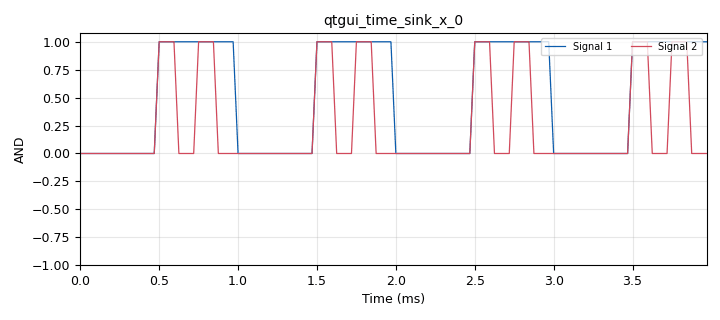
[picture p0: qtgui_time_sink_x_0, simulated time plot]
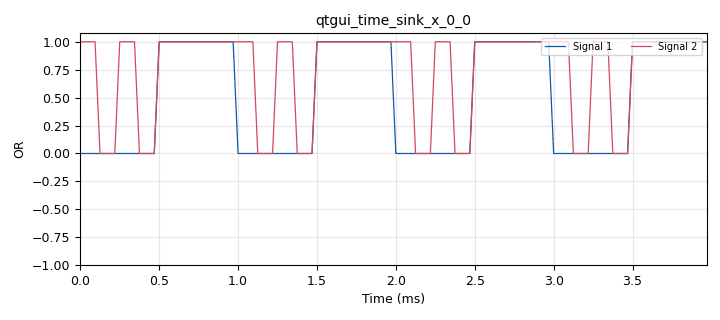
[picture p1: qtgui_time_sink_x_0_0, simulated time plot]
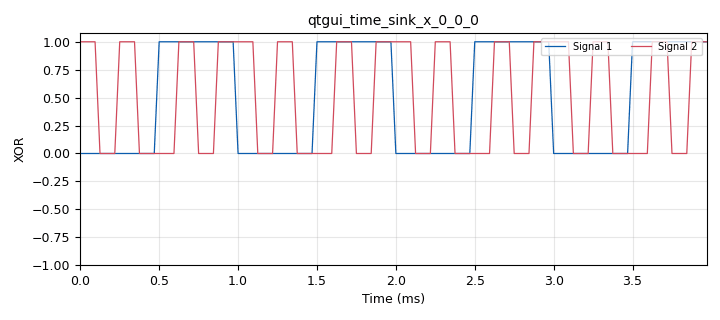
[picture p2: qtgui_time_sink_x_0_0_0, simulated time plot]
options:
  parameters:
    author: M Dzakwan Falih
    description: Demo logical signal source
    generate_options: qt_gui
    id: logicalsignal
    output_language: python
    title: And or xor
  states: {}

blocks:
- name: samp_rate
  id: variable
  parameters:
    value: '32000'
  states: {}
- name: analog_const_source_x_0
  id: analog_const_source_x
  parameters:
    const: '1'
    type: byte
  states: {}
- name: analog_sig_source_x_0
  id: analog_sig_source_x
  parameters:
    amp: '1'
    freq: '1000'
    offset: '0'
    phase: '0'
    samp_rate: samp_rate
    type: byte
    waveform: analog.GR_SQR_WAVE
  states: {}
- name: analog_sig_source_x_1
  id: analog_sig_source_x
  parameters:
    amp: '1'
    freq: '4000'
    offset: '0'
    phase: '0'
    samp_rate: samp_rate
    type: byte
    waveform: analog.GR_SQR_WAVE
  states: {}
- name: blocks_and_xx_0
  id: blocks_and_xx
  parameters:
    type: byte
  states: {}
- name: blocks_null_sink_0
  id: blocks_null_sink
  parameters:
    type: byte
  states: {}
- name: blocks_null_source_0
  id: blocks_null_source
  parameters:
    type: byte
  states: {}
- name: blocks_or_xx_0
  id: blocks_or_xx
  parameters:
    type: byte
  states: {}
- name: blocks_throttle_0
  id: blocks_throttle
  parameters:
    samples_per_second: samp_rate
    type: byte
  states: {}
- name: blocks_uchar_to_float_0
  id: blocks_uchar_to_float
  parameters: {}
  states: {}
- name: blocks_uchar_to_float_0_0
  id: blocks_uchar_to_float
  parameters: {}
  states: {}
- name: blocks_uchar_to_float_0_0_0
  id: blocks_uchar_to_float
  parameters: {}
  states: {}
- name: blocks_uchar_to_float_0_0_0_0
  id: blocks_uchar_to_float
  parameters: {}
  states: {}
- name: blocks_xor_xx_0
  id: blocks_xor_xx
  parameters:
    type: byte
  states: {}
- name: blocks_xor_xx_0_0
  id: blocks_xor_xx
  parameters:
    type: byte
  states: {}
- name: qtgui_time_sink_x_0
  id: qtgui_time_sink_x
  parameters:
    nconnections: '2'
    size: '128'
    srate: samp_rate
    type: float
    ylabel: AND
  states: {}
- name: qtgui_time_sink_x_0_0
  id: qtgui_time_sink_x
  parameters:
    nconnections: '2'
    size: '128'
    srate: samp_rate
    type: float
    ylabel: OR
  states: {}
- name: qtgui_time_sink_x_0_0_0
  id: qtgui_time_sink_x
  parameters:
    nconnections: '2'
    size: '128'
    srate: samp_rate
    type: float
    ylabel: XOR
  states: {}

connections:
- [analog_const_source_x_0, '0', blocks_xor_xx_0, '1']
- [analog_sig_source_x_0, '0', blocks_and_xx_0, '0']
- [analog_sig_source_x_0, '0', blocks_or_xx_0, '0']
- [analog_sig_source_x_0, '0', blocks_uchar_to_float_0, '0']
- [analog_sig_source_x_0, '0', blocks_xor_xx_0_0, '0']
- [analog_sig_source_x_1, '0', blocks_xor_xx_0, '0']
- [blocks_and_xx_0, '0', blocks_uchar_to_float_0_0_0_0, '0']
- [blocks_null_source_0, '0', blocks_throttle_0, '0']
- [blocks_or_xx_0, '0', blocks_uchar_to_float_0_0_0, '0']
- [blocks_throttle_0, '0', blocks_null_sink_0, '0']
- [blocks_uchar_to_float_0, '0', qtgui_time_sink_x_0, '0']
- [blocks_uchar_to_float_0, '0', qtgui_time_sink_x_0_0, '0']
- [blocks_uchar_to_float_0, '0', qtgui_time_sink_x_0_0_0, '0']
- [blocks_uchar_to_float_0_0, '0', qtgui_time_sink_x_0_0_0, '1']
- [blocks_uchar_to_float_0_0_0, '0', qtgui_time_sink_x_0_0, '1']
- [blocks_uchar_to_float_0_0_0_0, '0', qtgui_time_sink_x_0, '1']
- [blocks_xor_xx_0, '0', blocks_and_xx_0, '1']
- [blocks_xor_xx_0, '0', blocks_or_xx_0, '1']
- [blocks_xor_xx_0, '0', blocks_xor_xx_0_0, '1']
- [blocks_xor_xx_0_0, '0', blocks_uchar_to_float_0_0, '0']

metadata:
  file_format: 1
